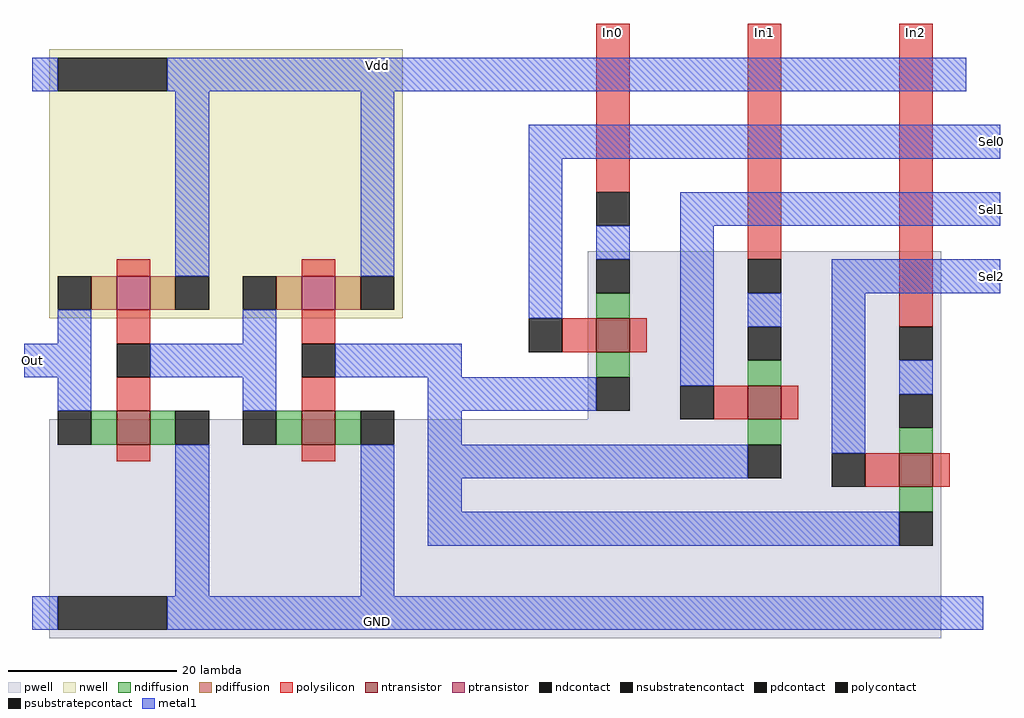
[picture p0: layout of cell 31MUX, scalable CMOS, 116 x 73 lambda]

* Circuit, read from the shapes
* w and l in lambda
.subckt 31MUX GND In0 In1 In2 Out Sel0 Sel1 Sel2 Vdd
M1 GND n1 Out GND nfet w=4 l=4
M2 GND n2 n1 GND nfet w=4 l=4
M3 In0 Sel0 n2 GND nfet w=4 l=4
M4 In1 Sel1 n2 GND nfet w=4 l=4
M5 In2 Sel2 n2 GND nfet w=4 l=4
M6 Vdd n1 Out Vdd pfet w=4 l=4
M7 Vdd n2 n1 Vdd pfet w=4 l=4
.ends

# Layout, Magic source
magic
tech scmos
<< pwell >>
rect 4 -17 46 3
rect -60 -43 46 -17
<< nwell >>
rect -60 -5 -18 27
<< polysilicon >>
rect 5 10 9 30
rect 23 2 27 30
rect -52 0 -48 2
rect -30 0 -26 2
rect -52 -8 -48 -4
rect -52 -16 -48 -12
rect -30 -8 -26 -4
rect 1 -9 5 -5
rect 9 -9 11 -5
rect 41 -6 45 30
rect -30 -16 -26 -12
rect 19 -17 23 -13
rect 27 -17 29 -13
rect -52 -22 -48 -20
rect -30 -22 -26 -20
rect 37 -25 41 -21
rect 45 -25 47 -21
<< ndiffusion >>
rect 5 -5 9 -2
rect 5 -12 9 -9
rect 23 -13 27 -10
rect -55 -20 -52 -16
rect -48 -20 -45 -16
rect -33 -20 -30 -16
rect -26 -20 -23 -16
rect 23 -20 27 -17
rect 41 -21 45 -18
rect 41 -28 45 -25
<< pdiffusion >>
rect -55 -4 -52 0
rect -48 -4 -45 0
rect -33 -4 -30 0
rect -26 -4 -23 0
<< metal1 >>
rect -62 22 -59 26
rect -46 22 49 26
rect -45 0 -41 22
rect -23 0 -19 22
rect -3 14 53 18
rect -59 -8 -55 -4
rect -37 -8 -33 -4
rect -3 -5 1 14
rect 5 2 9 6
rect 15 6 53 10
rect -63 -12 -55 -8
rect -48 -12 -33 -8
rect -26 -12 -11 -8
rect -59 -16 -55 -12
rect -37 -16 -33 -12
rect -15 -16 5 -12
rect 15 -13 19 6
rect 23 -6 27 -2
rect 33 -2 53 2
rect -45 -38 -41 -20
rect -23 -38 -19 -20
rect -15 -20 -11 -16
rect -15 -24 23 -20
rect 33 -21 37 -2
rect 41 -14 45 -10
rect -15 -28 -11 -24
rect -15 -32 41 -28
rect -62 -42 -59 -38
rect -46 -42 51 -38
<< ntransistor >>
rect 5 -9 9 -5
rect -52 -20 -48 -16
rect -30 -20 -26 -16
rect 23 -17 27 -13
rect 41 -25 45 -21
<< ptransistor >>
rect -52 -4 -48 0
rect -30 -4 -26 0
<< polycontact >>
rect 5 6 9 10
rect 23 -2 27 2
rect -52 -12 -48 -8
rect -30 -12 -26 -8
rect -3 -9 1 -5
rect 41 -10 45 -6
rect 15 -17 19 -13
rect 33 -25 37 -21
<< ndcontact >>
rect 5 -2 9 2
rect 5 -16 9 -12
rect 23 -10 27 -6
rect -59 -20 -55 -16
rect -45 -20 -41 -16
rect -37 -20 -33 -16
rect -23 -20 -19 -16
rect 23 -24 27 -20
rect 41 -18 45 -14
rect 41 -32 45 -28
<< pdcontact >>
rect -59 -4 -55 0
rect -45 -4 -41 0
rect -37 -4 -33 0
rect -23 -4 -19 0
<< psubstratepcontact >>
rect -59 -42 -46 -38
<< nsubstratencontact >>
rect -59 22 -46 26
<< labels >>
rlabel metal1 -21 25 -21 25 5 Vdd
rlabel metal1 -62 -10 -62 -10 3 Out
rlabel metal1 -21 -41 -21 -41 1 GND
rlabel metal1 52 16 52 16 7 Sel0
rlabel metal1 52 8 52 8 7 Sel1
rlabel metal1 52 0 52 0 7 Sel2
rlabel polysilicon 7 29 7 29 5 In0
rlabel polysilicon 25 29 25 29 5 In1
rlabel polysilicon 43 29 43 29 5 In2
<< end >>
